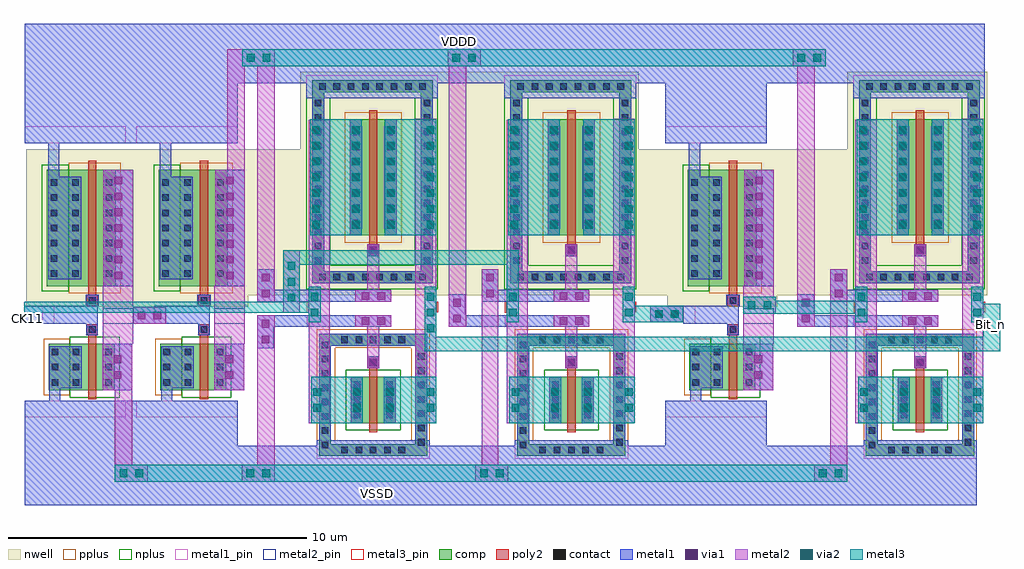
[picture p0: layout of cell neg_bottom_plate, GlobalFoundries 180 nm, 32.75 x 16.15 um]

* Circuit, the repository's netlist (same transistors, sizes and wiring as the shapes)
* Extracted by KLayout with GF180MCU LVS runset on : 18/02/2024 19:49

.SUBCKT neg_bottom_plate VSSD CK11 VDDD
M$1 \$2 CK11 VDDD VDDD pfet_03v3 L=0.28U W=3.9U AS=2.535P AD=2.535P PS=9.1U
+ PD=9.1U
M$2 \$8 \$2 VDDD VDDD pfet_03v3 L=0.28U W=3.9U AS=2.535P AD=2.535P PS=9.1U
+ PD=9.1U
M$3 \$6 \$5 VDDD VDDD pfet_03v3 L=0.28U W=3.9U AS=2.535P AD=2.535P PS=9.1U
+ PD=9.1U
M$4 \$4 \$8 \$3 VDDD pfet_03v3 L=0.28U W=3.9U AS=2.535P AD=2.535P PS=9.1U
+ PD=9.1U
M$5 \$5 \$2 \$3 VDDD pfet_03v3 L=0.28U W=3.9U AS=2.535P AD=2.535P PS=9.1U
+ PD=9.1U
M$6 \$4 \$2 \$6 VDDD pfet_03v3 L=0.28U W=3.9U AS=2.535P AD=2.535P PS=9.1U
+ PD=9.1U
M$7 \$4 \$2 \$3 VSSD nfet_03v3 L=0.28U W=1.56U AS=0.9516P AD=0.9516P PS=4.34U
+ PD=4.34U
M$8 \$5 \$8 \$3 VSSD nfet_03v3 L=0.28U W=1.56U AS=0.9516P AD=0.9516P PS=4.34U
+ PD=4.34U
M$9 \$4 \$8 \$6 VSSD nfet_03v3 L=0.28U W=1.56U AS=0.9516P AD=0.9516P PS=4.34U
+ PD=4.34U
M$10 \$2 CK11 VSSD VSSD nfet_03v3 L=0.28U W=1.56U AS=0.9516P AD=0.9516P
+ PS=4.34U PD=4.34U
M$11 \$8 \$2 VSSD VSSD nfet_03v3 L=0.28U W=1.56U AS=0.9516P AD=0.9516P PS=4.34U
+ PD=4.34U
M$12 \$6 \$5 VSSD VSSD nfet_03v3 L=0.28U W=1.56U AS=0.9516P AD=0.9516P PS=4.34U
+ PD=4.34U
.ENDS neg_bottom_plate

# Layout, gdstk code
from math import pi, radians
import gdstk
lib = gdstk.Library(unit=1e-6, precision=1e-09)
def R(c, l, rs):  # rectangles x0, y0, x1, y1
    for r in rs: c.add(gdstk.rectangle(r[:2], r[2:], *l))
def A(c, l, x, y, w, h, nx, ny, dx, dy):  # array of equal rectangles
    R(c, l, [(x+i*dx, y+j*dy, x+i*dx+w, y+j*dy+h) for i in range(nx) for j in range(ny)])
nwell = (21, 0)
comp = (22, 0)
poly2 = (30, 0)
pplus = (31, 0)
nplus = (32, 0)
contact = (33, 0)
metal1 = (34, 0)
metal1_pin = (34, 10)
via1 = (35, 0)
metal2 = (36, 0)
metal2_pin = (36, 10)
via2 = (38, 0)
metal3 = (42, 0)
metal3_pin = (42, 10)

pfet = lib.new_cell('pfet')
R(pfet, nwell, [(-1.15,-0.69,2.54,4.59)])
R(pfet, comp, [(-0.46,0,0,3.9), (0,0,0.66,3.9), (0.66,0,1.12,3.9), (1.12,0,1.85,3.9)])
R(pfet, poly2, [(0.19,-0.3,0.47,4.2), (0.14,4.2,0.52,4.58)])
R(pfet, pplus, [(-0.63,-0.24,1.12,4.14)])
R(pfet, nplus, [(1.12,-0.17,2.02,4.07)])
A(pfet, contact, -0.34, 0.31, 0.22, 0.22, 1, 7, 0, 0.51)
A(pfet, contact, 0.78, 0.31, 0.22, 0.22, 1, 7, 0, 0.51)
A(pfet, contact, 1.51, 0.31, 0.22, 0.22, 1, 7, 0, 0.51)
R(pfet, contact, [(0.22,4.28,0.44,4.5)])
R(pfet, metal1, [(-0.42,0.23,-0.04,3.67), (0.7,0.23,1.08,3.67), (1.43,0.23,1.81,3.67), (0.14,4.199,0.52,4.581)])

nfet = lib.new_cell('nfet')
R(nfet, comp, [(-0.42,0,0,1.56), (0,0,0.66,1.56), (0.66,0,1.08,1.56), (1.08,0,1.79,1.56)])
R(nfet, poly2, [(0.19,-0.3,0.47,1.86), (0.15,1.86,0.51,2.22)])
R(nfet, pplus, [(1.08,-0.17,1.96,1.73)])
R(nfet, nplus, [(-0.59,-0.24,1.08,1.8)])
A(nfet, contact, -0.32, 0.16, 0.22, 0.22, 1, 3, 0, 0.51)
A(nfet, contact, 0.76, 0.16, 0.22, 0.22, 1, 3, 0, 0.51)
A(nfet, contact, 1.47, 0.16, 0.22, 0.22, 1, 3, 0, 0.51)
R(nfet, contact, [(0.22,1.93,0.44,2.15)])
R(nfet, metal1, [(-0.4,0.08,-0.02,1.48), (0.68,0.08,1.06,1.48), (1.39,0.08,1.77,1.48), (0.14,1.849,0.52,2.231)])

via_dev = lib.new_cell('via_dev')
R(via_dev, metal1, [(0,0,1,1.56)])
R(via_dev, via1, [(0.37,0.385,0.63,0.645), (0.37,0.915,0.63,1.175)])
R(via_dev, metal2, [(0,0,1,1.56)])

via_dev_1 = lib.new_cell('via_dev$1')
R(via_dev_1, metal1, [(0,0,1,3.9)])
A(via_dev_1, via1, 0.37, 0.23, 0.26, 0.26, 1, 7, 0, 0.53)
R(via_dev_1, metal2, [(0,0,1,3.9)])

top = lib.new_cell('TOP')
R(top, metal1, [(-1.6,-3.6,1.8,-3.05), (-0.77,-3.1,-0.4,-2.6), (-0.5,-2.62,0.05,-1.22), (0.475,-0.855,0.86,-0.47), (0.48,-0.6,0.86,0.21), (-1,-0.47,0.86,0.14), (0.45,0.12,0.89,0.51), (-0.48,1.03,0.01,4.47), (-0.81,4.42,-0.43,5.67), (-1.6,5.6,1.8,6.16)])
R(top, metal1_pin, [(-1.6,-3.6,1.8,-3.05), (-1,-0.47,-0.6,0.14), (-1.6,5.6,1.8,6.16)])
R(top, metal2, [(1.02,-1.14,2.04,0.81)])
R(top, metal2_pin, [(1.02,-0.46,2.04,0.05)])
top.add(gdstk.Reference(pfet, (1,4.7), rotation=pi))
top.add(gdstk.Reference(nfet, (1,-2.7), rotation=pi, x_reflection=True))
top.add(gdstk.Reference(via_dev, (1.02,-2.7)))
top.add(gdstk.Reference(via_dev_1, (1.04,0.8)))

via_dev_3 = lib.new_cell('via_dev$3')
R(via_dev_3, metal1, [(0,0,0.56,1.1)])
R(via_dev_3, via1, [(0.15,0.155,0.41,0.415), (0.15,0.685,0.41,0.945)])
R(via_dev_3, metal2, [(0,0,0.56,1.1)])

pfet_1 = lib.new_cell('pfet$1')
R(pfet_1, nwell, [(-0.9,-0.44,1.56,4.34)])
R(pfet_1, comp, [(-0.46,0,0,3.9), (0,0,0.66,3.9), (0.66,0,1.12,3.9)])
R(pfet_1, poly2, [(0.19,-0.3,0.47,4.2), (0.14,4.2,0.52,4.58)])
R(pfet_1, pplus, [(-0.63,-0.24,1.29,4.14)])
A(pfet_1, contact, -0.34, 0.31, 0.22, 0.22, 1, 7, 0, 0.51)
A(pfet_1, contact, 0.78, 0.31, 0.22, 0.22, 1, 7, 0, 0.51)
R(pfet_1, contact, [(0.22,4.28,0.44,4.5)])
R(pfet_1, metal1, [(-0.42,0.23,-0.04,3.67), (0.7,0.23,1.08,3.67), (0.14,4.199,0.52,4.581)])

via_dev_2 = lib.new_cell('via_dev$2')
R(via_dev_2, metal1, [(0,0,0.4,1.56)])
R(via_dev_2, via1, [(0.07,0.385,0.33,0.645), (0.07,0.915,0.33,1.175)])
R(via_dev_2, metal2, [(0,0,0.4,1.56)])
R(via_dev_2, via2, [(0.07,0.385,0.33,0.645), (0.07,0.915,0.33,1.175)])
R(via_dev_2, metal3, [(0,0,0.4,1.56)])

via_dev_4 = lib.new_cell('via_dev$4')
R(via_dev_4, poly2, [(0,0,0.4,0.4)])
R(via_dev_4, contact, [(0.09,0.09,0.31,0.31)])
R(via_dev_4, metal1, [(0,0,0.4,0.4)])
R(via_dev_4, via1, [(0.07,0.07,0.33,0.33)])
R(via_dev_4, metal2, [(0,0,0.4,0.4)])

via_dev_5 = lib.new_cell('via_dev$5')
R(via_dev_5, metal2, [(0,0,0.4,1.56)])
R(via_dev_5, via2, [(0.07,0.385,0.33,0.645), (0.07,0.915,0.33,1.175)])
R(via_dev_5, metal3, [(0,0,0.4,1.56)])

nfet_1 = lib.new_cell('nfet$1')
R(nfet_1, comp, [(-0.42,0,0,1.56), (0,0,0.66,1.56), (0.66,0,1.08,1.56)])
R(nfet_1, poly2, [(0.19,-0.3,0.47,1.86), (0.15,1.86,0.51,2.22)])
R(nfet_1, nplus, [(-0.59,-0.24,1.25,1.8)])
A(nfet_1, contact, -0.32, 0.16, 0.22, 0.22, 1, 3, 0, 0.51)
A(nfet_1, contact, 0.76, 0.16, 0.22, 0.22, 1, 3, 0, 0.51)
R(nfet_1, contact, [(0.22,1.93,0.44,2.15)])
R(nfet_1, metal1, [(-0.4,0.08,-0.02,1.48), (0.68,0.08,1.06,1.48), (0.14,1.849,0.52,2.231)])

via_dev_6 = lib.new_cell('via_dev$6')
R(via_dev_6, comp, [(0,0,0.4,6)])
A(via_dev_6, contact, 0.09, 0.25, 0.22, 0.22, 1, 12, 0, 0.48)
R(via_dev_6, metal1, [(0,0,0.4,6)])

via_dev_7 = lib.new_cell('via_dev$7')
R(via_dev_7, comp, [(0,0,4.05,0.4)])
A(via_dev_7, contact, 0.235, 0.09, 0.22, 0.22, 8, 1, 0.48, 0)
R(via_dev_7, metal1, [(0,0,4.05,0.4)])

via_dev_8 = lib.new_cell('via_dev$8')
R(via_dev_8, metal1, [(0,0,0.4,3.9)])
A(via_dev_8, via1, 0.07, 0.23, 0.26, 0.26, 1, 7, 0, 0.53)
R(via_dev_8, metal2, [(0,0,0.4,3.9)])
A(via_dev_8, via2, 0.07, 0.23, 0.26, 0.26, 1, 7, 0, 0.53)
R(via_dev_8, metal3, [(0,0,0.4,3.9)])

via_dev_9 = lib.new_cell('via_dev$9')
R(via_dev_9, comp, [(0,0,2.83,0.4)])
A(via_dev_9, contact, 0.345, 0.09, 0.22, 0.22, 5, 1, 0.48, 0)
R(via_dev_9, metal1, [(0,0,2.83,0.4)])

via_dev_10 = lib.new_cell('via_dev$10')
R(via_dev_10, comp, [(0,0,0.4,4.1)])
A(via_dev_10, contact, 0.09, 0.26, 0.22, 0.22, 1, 8, 0, 0.48)
R(via_dev_10, metal1, [(0,0,0.4,4.1)])

via_dev_11 = lib.new_cell('via_dev$11')
R(via_dev_11, metal2, [(0,0,0.4,3.9)])
A(via_dev_11, via2, 0.07, 0.23, 0.26, 0.26, 1, 7, 0, 0.53)
R(via_dev_11, metal3, [(0,0,0.4,3.9)])

via_dev_12 = lib.new_cell('via_dev$12')
R(via_dev_12, comp, [(0,0,0.4,3.8)])
A(via_dev_12, contact, 0.09, 0.35, 0.22, 0.22, 1, 7, 0, 0.48)
R(via_dev_12, metal1, [(0,0,0.4,3.8)])

via_dev_13 = lib.new_cell('via_dev$13')
R(via_dev_13, metal1, [(0,0,1.2,0.4)])
R(via_dev_13, via1, [(0.205,0.07,0.465,0.33), (0.735,0.07,0.995,0.33)])
R(via_dev_13, metal2, [(0,0,1.2,0.4)])

via_dev_14 = lib.new_cell('via_dev$14')
R(via_dev_14, metal2, [(0,0,0.4,1.2)])
R(via_dev_14, via2, [(0.07,0.205,0.33,0.465), (0.07,0.735,0.33,0.995)])
R(via_dev_14, metal3, [(0,0,0.4,1.2)])

tgate = lib.new_cell('tgate')
R(tgate, nwell, [(-2,-1.2,2.7,6.3)])
R(tgate, comp, [(1.86,-2.8,2.26,-2.5)])
R(tgate, pplus, [(-1.45,-6.7,-0.83,-2.35), (-1.45,-6.7,1.73,-6.08), (1.73,-6.7,2.35,-2.35), (-1.45,-2.97,1.83,-2.35)])
R(tgate, nplus, [(-1.8,-1,2.62,-0.2), (-1.8,-0.85,-1,6.05), (1.85,-0.85,2.62,6.1), (-1.8,5.4,2.62,6.18)])
R(tgate, metal1, [(-1.45,-6.7,2.35,-6.08), (1.86,-2.8,2.26,-2.5), (-1.79,-2.27,-0.09,-1.87), (-1.78,-1.43,-0.11,-1.03), (-1.8,5.4,2.62,6.18)])
R(tgate, metal1_pin, [(-1.45,-6.7,2.35,-6.08), (-1.79,-2.27,-1.75,-1.87), (-1.78,-1.43,-1.71,-1.03), (-1.8,5.4,2.62,6.18)])
R(tgate, metal2, [(-1.72,-5.5,-1.01,4.69), (1.86,-5.5,2.57,4.71), (0.25,-3.6,0.65,-2), (0.25,-1.32,0.65,0.51)])
R(tgate, metal3_pin, [(-1.78,-1.8,-1.72,-1.42), (2.57,-1.78,2.63,-1.42)])
tgate.add(gdstk.Reference(pfet_1, (0.12,4.7), x_reflection=True))
tgate.add(gdstk.Reference(via_dev_2, (-0.3,-5.5)))
tgate.add(gdstk.Reference(via_dev_4, (0.25,0.11)))
tgate.add(gdstk.Reference(via_dev_2, (0.8,-5.5)))
tgate.add(gdstk.Reference(via_dev_5, (-1.63,-5.5)))
tgate.add(gdstk.Reference(nfet_1, (0.12,-5.5)))
tgate.add(gdstk.Reference(via_dev_6, (-1.6,-0.4)))
tgate.add(gdstk.Reference(via_dev_5, (2.17,-5.5)))
tgate.add(gdstk.Reference(via_dev_6, (2.05,-0.4)))
tgate.add(gdstk.Reference(via_dev_7, (-1.6,5.6)))
tgate.add(gdstk.Reference(via_dev_7, (-1.6,-0.8)))
tgate.add(gdstk.Reference(via_dev_8, (-0.34,0.8)))
tgate.add(gdstk.Reference(via_dev_9, (-0.97,-2.9)))
tgate.add(gdstk.Reference(via_dev_8, (0.84,0.8)))
tgate.add(gdstk.Reference(via_dev_4, (0.25,-3.66)))
tgate.add(gdstk.Reference(via_dev_10, (-1.37,-6.6)))
tgate.add(gdstk.Reference(via_dev_11, (-1.67,0.8)))
tgate.add(gdstk.Reference(via_dev_12, (1.86,-6.6)))
tgate.add(gdstk.Reference(via_dev_9, (-0.97,-6.6)))
tgate.add(gdstk.Reference(via_dev_11, (2.17,0.8)))
tgate.add(gdstk.Reference(via_dev_13, (-0.15,-2.27)))
tgate.add(gdstk.Reference(via_dev_13, (-0.15,-1.43)))
tgate.add(gdstk.Reference(via_dev_14, (-1.72,-2.12)))
tgate.add(gdstk.Reference(via_dev_14, (2.17,-2.12)))

via_dev_16 = lib.new_cell('via_dev$16')
R(via_dev_16, metal1, [(0,0,1.1,0.56)])
R(via_dev_16, via1, [(0.155,0.15,0.415,0.41), (0.685,0.15,0.945,0.41)])
R(via_dev_16, metal2, [(0,0,1.1,0.56)])

via_dev_17 = lib.new_cell('via_dev$17')
R(via_dev_17, metal2, [(0,0,0.56,1.1)])
R(via_dev_17, via2, [(0.15,0.155,0.41,0.415), (0.15,0.685,0.41,0.945)])
R(via_dev_17, metal3, [(0,0,0.56,1.1)])

via_dev_18 = lib.new_cell('via_dev$18')
R(via_dev_18, metal2, [(0,0,2.1,0.56)])
A(via_dev_18, via2, 0.39, 0.15, 0.26, 0.26, 3, 1, 0.53, 0)
R(via_dev_18, metal3, [(0,0,2.1,0.56)])

via_dev_19 = lib.new_cell('via_dev$19')
R(via_dev_19, metal1, [(0,0,0.56,1.1)])
R(via_dev_19, via1, [(0.15,0.155,0.41,0.415), (0.15,0.685,0.41,0.945)])
R(via_dev_19, metal2, [(0,0,0.56,1.1)])
R(via_dev_19, via2, [(0.15,0.155,0.41,0.415), (0.15,0.685,0.41,0.945)])
R(via_dev_19, metal3, [(0,0,0.56,1.1)])

via_dev_21 = lib.new_cell('via_dev$21')
R(via_dev_21, metal2, [(0,0,1.1,0.4)])
R(via_dev_21, via2, [(0.155,0.07,0.415,0.33), (0.685,0.07,0.945,0.33)])
R(via_dev_21, metal3, [(0,0,1.1,0.4)])

neg_bottom_plate = lib.new_cell('neg_bottom_plate')
R(neg_bottom_plate, nwell, [(-16.85,0.91,-16.79,6.19), (-13.1,1.3,-11.35,6.19), (-6.7,1.3,-4.65,8.8), (0,1.3,0.96,6.19), (4.65,1.3,7.002,6.19)])
R(neg_bottom_plate, metal1, [(-20.6,-5.75,11.35,-3.75), (-20.6,-3.75,-13.45,-2.8), (0.9,-3.75,4.3,-2.8), (-17.2,-2.8,-16.85,-2.25), (-12.8,0.23,-11.14,0.63), (-6.15,0.23,-4.49,0.63), (5.55,0.23,7.21,0.63), (-20.62,0.33,-20,0.94), (-12.79,1.07,-11.13,1.47), (-5.26,1.07,-4.48,1.47), (6.44,1.07,7.22,1.47), (-17.2,6.4,-16.85,6.96), (-20.6,6.96,-13.45,8.4), (0.9,6.96,4.3,8.57), (-20.6,8.4,11.62,10.4)])
R(neg_bottom_plate, metal2, [(-17.57,-4.96,-16.98,-1), (-5.26,-4.96,-4.7,1.106), (-5.26,-4.96,-4.7,1.106), (6.44,-4.96,7,1.07), (-12.8,-4.891,-12.21,0.63), (-6.37,0.23,-5.78,9.54), (5.33,0.23,5.92,9.54), (-16.96,0.34,-16.249,0.848), (-13.8,1.07,-13.21,9.54), (-12.79,1.07,-12.2,9.54)])
R(neg_bottom_plate, metal3, [(-16.47,-4.96,6.777,-4.4), (-10.58,-3,-9.65,-1.44), (-8.15,-3,-7.18,-1.44), (-3.93,-3,-3,-1.44), (-1.5,-3,-0.53,-1.44), (7.77,-3,8.7,-1.44), (10.2,-3,11.17,-1.44), (-7.18,-0.58,12.13,-0.1), (11.57,-0.209,12.13,0.776), (-0.14,0.38,1.5,0.94), (11.52,0.52,12.13,1), (3.52,0.68,7.31,1.11), (-20.62,0.7,-11.07,1.08), (-4.42,1.58,-4.02,2.32), (-11.59,2.32,-4.02,2.8), (-10.62,3.3,-9.69,7.2), (-8.11,3.3,-7.18,7.2), (-3.97,3.3,-3.04,7.2), (-1.46,3.3,-0.53,7.2), (7.73,3.3,8.66,7.2), (10.24,3.3,11.17,7.2), (-12.2,8.98,6.28,9.54)])
r = gdstk.Reference(top, (-19,0.8)); r.repetition = gdstk.Repetition(1, 1, v1=(0,0), v2=(0,0)); neg_bottom_plate.add(r)
r = gdstk.Reference(top, (-15.25,0.8)); r.repetition = gdstk.Repetition(1, 1, v1=(0,0), v2=(0,0)); neg_bottom_plate.add(r)
r = gdstk.Reference(via_dev_3, (-15.86,0.33), rotation=pi/2); r.repetition = gdstk.Repetition(1, 1, v1=(0,0), v2=(0,0)); neg_bottom_plate.add(r)
r = gdstk.Reference(tgate, (-2.7,2.5)); r.repetition = gdstk.Repetition(1, 1, v1=(0,0), v2=(0,0)); neg_bottom_plate.add(r)
r = gdstk.Reference(top, (2.5,0.8)); r.repetition = gdstk.Repetition(1, 1, v1=(0,0), v2=(0,0)); neg_bottom_plate.add(r)
r = gdstk.Reference(tgate, (9,2.5)); r.repetition = gdstk.Repetition(1, 1, v1=(0,0), v2=(0,0)); neg_bottom_plate.add(r)
r = gdstk.Reference(via_dev_16, (-12.24,-0.48), rotation=pi/2); r.repetition = gdstk.Repetition(1, 1, v1=(0,0), v2=(0,0)); neg_bottom_plate.add(r)
r = gdstk.Reference(via_dev_17, (-16.47,-4.96), rotation=pi/2); r.repetition = gdstk.Repetition(1, 1, v1=(0,0), v2=(0,0)); neg_bottom_plate.add(r)
r = gdstk.Reference(via_dev_17, (-12.21,-4.96), rotation=pi/2); r.repetition = gdstk.Repetition(1, 1, v1=(0,0), v2=(0,0)); neg_bottom_plate.add(r)
r = gdstk.Reference(via_dev_16, (-12.23,1.07), rotation=pi/2); r.repetition = gdstk.Repetition(1, 1, v1=(0,0), v2=(0,0)); neg_bottom_plate.add(r)
r = gdstk.Reference(via_dev_18, (-11.36,0.7), rotation=pi/2); r.repetition = gdstk.Repetition(1, 1, v1=(0,0), v2=(0,0)); neg_bottom_plate.add(r)
r = gdstk.Reference(via_dev_17, (-12.2,8.98), rotation=pi/2); r.repetition = gdstk.Repetition(1, 1, v1=(0,0), v2=(0,0)); neg_bottom_plate.add(r)
r = gdstk.Reference(via_dev_16, (-4.7,1.07), rotation=pi/2); r.repetition = gdstk.Repetition(1, 1, v1=(0,0), v2=(0,0)); neg_bottom_plate.add(r)
r = gdstk.Reference(via_dev_17, (-4.37,-4.96), rotation=pi/2); r.repetition = gdstk.Repetition(1, 1, v1=(0,0), v2=(0,0)); neg_bottom_plate.add(r)
r = gdstk.Reference(via_dev_16, (-5.81,0.23), rotation=pi/2); r.repetition = gdstk.Repetition(1, 1, v1=(0,0), v2=(0,0)); neg_bottom_plate.add(r)
r = gdstk.Reference(via_dev_17, (-5.3,8.98), rotation=pi/2); r.repetition = gdstk.Repetition(1, 1, v1=(0,0), v2=(0,0)); neg_bottom_plate.add(r)
r = gdstk.Reference(via_dev_19, (1.5,0.38), rotation=pi/2); r.repetition = gdstk.Repetition(1, 1, v1=(0,0), v2=(0,0)); neg_bottom_plate.add(r)
r = gdstk.Reference(via_dev_16, (7,1.07), rotation=pi/2); r.repetition = gdstk.Repetition(1, 1, v1=(0,0), v2=(0,0)); neg_bottom_plate.add(r)
r = gdstk.Reference(via_dev_17, (7,-4.96), rotation=pi/2); r.repetition = gdstk.Repetition(1, 1, v1=(0,0), v2=(0,0)); neg_bottom_plate.add(r)
r = gdstk.Reference(via_dev_16, (5.89,0.23), rotation=pi/2); r.repetition = gdstk.Repetition(1, 1, v1=(0,0), v2=(0,0)); neg_bottom_plate.add(r)
r = gdstk.Reference(via_dev_17, (6.28,8.98), rotation=pi/2); r.repetition = gdstk.Repetition(1, 1, v1=(0,0), v2=(0,0)); neg_bottom_plate.add(r)
r = gdstk.Reference(via_dev_17, (4.61,0.68), rotation=pi/2); r.repetition = gdstk.Repetition(1, 1, v1=(0,0), v2=(0,0)); neg_bottom_plate.add(r)
r = gdstk.Reference(via_dev_21, (-6.78,-0.1), rotation=pi/2); r.repetition = gdstk.Repetition(1, 1, v1=(0,0), v2=(0,0)); neg_bottom_plate.add(r)
r = gdstk.Reference(tgate, (-9.35,2.5)); r.repetition = gdstk.Repetition(1, 1, v1=(0,0), v2=(0,0)); neg_bottom_plate.add(r)
neg_bottom_plate.add(gdstk.Label('CK11', (-20.5,0.52), layer=34, texttype=10))
neg_bottom_plate.add(gdstk.Label('VSSD', (-8.76,-5.36), layer=34, texttype=10))
neg_bottom_plate.add(gdstk.Label('VDDD', (-6,9.81), layer=34, texttype=10))
neg_bottom_plate.add(gdstk.Label('Bit', (-20.4,0.82), layer=42, texttype=10))
neg_bottom_plate.add(gdstk.Label('Bit_n', (11.8,0.31), layer=42, texttype=10))

lib.write_gds('neg_bottom_plate.gds')
